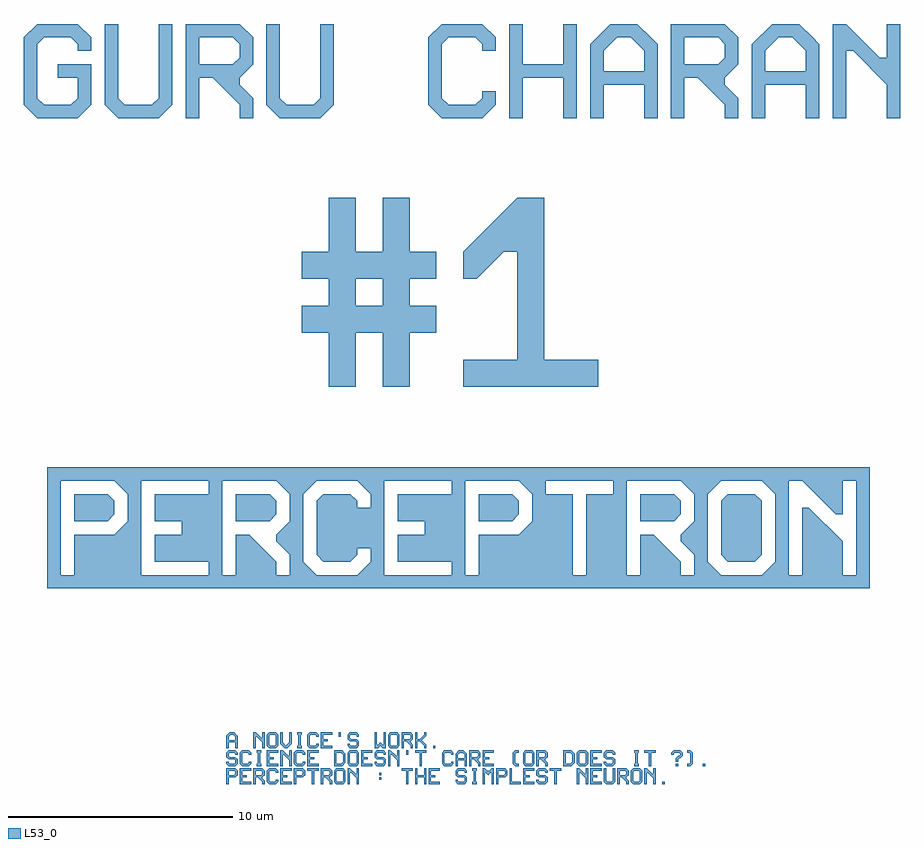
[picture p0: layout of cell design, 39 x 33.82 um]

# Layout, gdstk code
import gdstk
lib = gdstk.Library(unit=1e-6, precision=5e-09)
def R(c, l, rs):  # rectangles x0, y0, x1, y1
    for r in rs: c.add(gdstk.rectangle(r[:2], r[2:], *l))
def P(c, l, *ps):  # polygons
    for p in ps: c.add(gdstk.Polygon(p, *l))
L53_0 = (53, 0)

text = lib.new_cell('TEXT')
P(text, L53_0, [(1.2,0),(1.2,2.4),(0,2.4),(0,3.6),(1.2,3.6),(1.2,4.8),(0,4.8),(0,6),(1.2,6),(1.2,8.4),(2.4,8.4),(2.4,6),(3.6,6),(3.6,8.4),(4.8,8.4),(4.8,6),(6,6),(6,4.8),(4.8,4.8),(4.8,3.6),(6,3.6),(6,2.4),(4.8,2.4),(4.8,0),(3.6,0),(3.6,4.8),(2.4,4.8),(2.4,3.6),(3.6,3.6),(3.6,2.4),(2.4,2.4),(2.4,0)],
  [(7.2,0),(7.2,1.2),(9.6,1.2),(9.6,6),(9,6),(7.8,4.8),(7.2,4.8),(7.2,6),(9.6,8.4),(10.8,8.4),(10.8,1.2),(13.2,1.2),(13.2,0)])

text_3 = lib.new_cell('TEXT$3')
P(text_3, L53_0, [(0.6,2.4),(0.6,3.6),(2.1,3.6),(2.4,3.3),(2.4,2.7),(2.1,2.4)],
  [(7.8,2.4),(7.8,3.6),(9.3,3.6),(9.6,3.3),(9.6,2.7),(9.3,2.4)],
  [(18.6,2.4),(18.6,3.6),(20.1,3.6),(20.4,3.3),(20.4,2.7),(20.1,2.4)],
  [(25.8,2.4),(25.8,3.6),(27.3,3.6),(27.6,3.3),(27.6,2.7),(27.3,2.4)],
  [(29.7,0.6),(29.4,0.9),(29.4,3.3),(29.7,3.6),(30.9,3.6),(31.2,3.3),(31.2,0.9),(30.9,0.6)],
  [(-0.6,-0.6),(-0.6,4.2),(0,4.2),(0,0),(0.6,0),(0.6,1.8),(2.4,1.8),(3,2.4),(3,3.6),(2.4,4.2),(3.6,4.2),(3.6,0),(6.6,0),(6.6,0.6),(4.2,0.6),(4.2,1.8),(5.4,1.8),(5.4,2.4),(4.2,2.4),(4.2,3.6),(6.6,3.6),(6.6,4.2),(7.2,4.2),(7.2,0),(7.8,0),(7.8,1.8),(8.4,1.8),(9.6,0.6),(9.6,0),(10.2,0),(10.2,0.9),(9.6,1.5),(9.6,1.8),(10.2,2.4),(10.2,3.6),(9.6,4.2),(11.4,4.2),(10.8,3.6),(10.8,0.6),(11.4,0),(13.2,0),(13.8,0.6),(13.8,1.2),(13.2,1.2),(13.2,0.9),(12.9,0.6),(11.7,0.6),(11.4,0.9),(11.4,3.3),(11.7,3.6),(12.9,3.6),(13.2,3.3),(13.2,3),(13.8,3),(13.8,3.6),(13.2,4.2),(14.4,4.2),(14.4,0),(17.4,0),(17.4,0.6),(15,0.6),(15,1.8),(16.2,1.8),(16.2,2.4),(15,2.4),(15,3.6),(17.4,3.6),(17.4,4.2),(18,4.2),(18,0),(18.6,0),(18.6,1.8),(20.4,1.8),(21,2.4),(21,3.6),(20.4,4.2),(21.6,4.2),(21.6,3.6),(22.8,3.6),(22.8,0),(23.4,0),(23.4,3.6),(24.6,3.6),(24.6,4.2),(25.2,4.2),(25.2,0),(25.8,0),(25.8,1.8),(26.4,1.8),(27.6,0.6),(27.6,0),(28.2,0),(28.2,0.9),(27.6,1.5),(27.6,1.8),(28.2,2.4),(28.2,3.6),(27.6,4.2),(29.4,4.2),(28.8,3.6),(28.8,0.6),(29.4,0),(31.2,0),(31.8,0.6),(31.8,3.6),(31.2,4.2),(34.8,4.2),(34.8,2.7),(34.5,2.7),(33,4.2),(32.4,4.2),(32.4,0),(33,0),(33,3),(33.3,3),(34.8,1.5),(34.8,0),(35.4,0),(35.4,4.2),(-0.6,4.2),(-0.6,4.8),(36,4.8),(36,-0.6)])

text_2 = lib.new_cell('TEXT$2')
P(text_2, L53_0, [(0.6,0),(0,0.6),(0,3.6),(0.6,4.2),(2.4,4.2),(3,3.6),(3,3),(2.4,3),(2.4,3.3),(2.1,3.6),(0.9,3.6),(0.6,3.3),(0.6,0.9),(0.9,0.6),(2.1,0.6),(2.4,0.9),(2.4,1.8),(1.5,1.8),(1.5,2.4),(3,2.4),(3,0.6),(2.4,0)],
  [(4.2,0),(3.6,0.6),(3.6,4.2),(4.2,4.2),(4.2,0.9),(4.5,0.6),(5.7,0.6),(6,0.9),(6,4.2),(6.6,4.2),(6.6,0.6),(6,0)],
  [(7.2,0),(7.2,4.2),(9.6,4.2),(10.2,3.6),(7.8,3.6),(7.8,2.4),(9.3,2.4),(9.6,2.7),(9.6,3.3),(9.3,3.6),(10.2,3.6),(10.2,2.4),(9.6,1.8),(9.6,1.5),(10.2,0.9),(10.2,0),(9.6,0),(9.6,0.6),(8.4,1.8),(7.8,1.8),(7.8,0)],
  [(11.4,0),(10.8,0.6),(10.8,4.2),(11.4,4.2),(11.4,0.9),(11.7,0.6),(12.9,0.6),(13.2,0.9),(13.2,4.2),(13.8,4.2),(13.8,0.6),(13.2,0)],
  [(18.6,0),(18,0.6),(18,3.6),(18.6,4.2),(20.4,4.2),(21,3.6),(21,3),(20.4,3),(20.4,3.3),(20.1,3.6),(18.9,3.6),(18.6,3.3),(18.6,0.9),(18.9,0.6),(20.1,0.6),(20.4,0.9),(20.4,1.2),(21,1.2),(21,0.6),(20.4,0)],
  [(21.6,0),(21.6,4.2),(22.2,4.2),(22.2,2.4),(24,2.4),(24,4.2),(24.6,4.2),(24.6,0),(24,0),(24,1.8),(22.2,1.8),(22.2,0)],
  [(25.2,0),(25.2,3.3),(26.1,4.2),(27.3,4.2),(27.9,3.6),(26.4,3.6),(25.8,3),(25.8,2.1),(27.6,2.1),(27.6,3),(27,3.6),(27.9,3.6),(28.2,3.3),(28.2,0),(27.6,0),(27.6,1.5),(25.8,1.5),(25.8,0)],
  [(28.8,0),(28.8,4.2),(31.2,4.2),(31.8,3.6),(29.4,3.6),(29.4,2.4),(30.9,2.4),(31.2,2.7),(31.2,3.3),(30.9,3.6),(31.8,3.6),(31.8,2.4),(31.2,1.8),(31.2,1.5),(31.8,0.9),(31.8,0),(31.2,0),(31.2,0.6),(30,1.8),(29.4,1.8),(29.4,0)],
  [(32.4,0),(32.4,3.3),(33.3,4.2),(34.5,4.2),(35.1,3.6),(33.6,3.6),(33,3),(33,2.1),(34.8,2.1),(34.8,3),(34.2,3.6),(35.1,3.6),(35.4,3.3),(35.4,0),(34.8,0),(34.8,1.5),(33,1.5),(33,0)],
  [(36,0),(36,4.2),(36.6,4.2),(38.1,2.7),(38.4,2.7),(38.4,4.2),(39,4.2),(39,0),(38.4,0),(38.4,1.5),(36.9,3),(36.6,3),(36.6,0)])

text_5 = lib.new_cell('TEXT$5')
R(text_5, L53_0, [(19.4,-1.6,19.5,-1.5), (6.8,-1.4,6.9,-1.3), (6.8,-1.2,6.9,-1.1), (20,-0.8,20.1,-0.7), (21.2,-0.8,21.3,-0.7), (8,-0.3,8.1,-0.1), (9.2,0,9.3,0.1), (5,0.5,5.1,0.7)])
P(text_5, L53_0, [(0,0),(0,0.55),(0.15,0.7),(0.35,0.7),(0.45,0.6),(0.2,0.6),(0.1,0.5),(0.1,0.35),(0.4,0.35),(0.4,0.5),(0.3,0.6),(0.45,0.6),(0.5,0.55),(0.5,0),(0.4,0),(0.4,0.25),(0.1,0.25),(0.1,0)],
  [(1.2,0),(1.2,0.7),(1.3,0.7),(1.55,0.45),(1.6,0.45),(1.6,0.7),(1.7,0.7),(1.7,0),(1.6,0),(1.6,0.25),(1.35,0.5),(1.3,0.5),(1.3,0)],
  [(1.9,0),(1.8,0.1),(1.8,0.6),(1.9,0.7),(2.2,0.7),(2.3,0.6),(2.3,0.35),(2.2,0.35),(2.2,0.55),(2.15,0.6),(1.95,0.6),(1.9,0.55),(1.9,0.15),(1.95,0.1),(2.15,0.1),(2.2,0.15),(2.2,0.35),(2.3,0.35),(2.3,0.1),(2.2,0)],
  [(2.6,0),(2.4,0.2),(2.4,0.7),(2.5,0.7),(2.5,0.25),(2.65,0.1),(2.8,0.25),(2.8,0.7),(2.9,0.7),(2.9,0.2),(2.7,0)],
  [(3.15,0),(3.15,0.1),(3.2,0.1),(3.2,0.6),(3.15,0.6),(3.15,0.7),(3.35,0.7),(3.35,0.6),(3.3,0.6),(3.3,0.1),(3.35,0.1),(3.35,0)],
  [(3.7,0),(3.6,0.1),(3.6,0.6),(3.7,0.7),(4,0.7),(4.1,0.6),(4.1,0.5),(4,0.5),(4,0.55),(3.95,0.6),(3.75,0.6),(3.7,0.55),(3.7,0.15),(3.75,0.1),(3.95,0.1),(4,0.15),(4,0.2),(4.1,0.2),(4.1,0.1),(4,0)],
  [(4.2,0),(4.2,0.7),(4.7,0.7),(4.7,0.6),(4.3,0.6),(4.3,0.4),(4.5,0.4),(4.5,0.3),(4.3,0.3),(4.3,0.1),(4.7,0.1),(4.7,0)],
  [(5.5,0),(5.4,0.1),(5.4,0.2),(5.5,0.2),(5.5,0.15),(5.55,0.1),(5.75,0.1),(5.8,0.15),(5.8,0.25),(5.75,0.3),(5.5,0.3),(5.4,0.4),(5.4,0.6),(5.5,0.7),(5.8,0.7),(5.9,0.6),(5.9,0.5),(5.8,0.5),(5.8,0.55),(5.75,0.6),(5.55,0.6),(5.5,0.55),(5.5,0.45),(5.55,0.4),(5.8,0.4),(5.9,0.3),(5.9,0.1),(5.8,0)],
  [(6.6,0),(6.6,0.7),(6.7,0.7),(6.7,0.15),(6.75,0.15),(6.85,0.25),(6.95,0.15),(7,0.15),(7,0.7),(7.1,0.7),(7.1,0),(6.95,0),(6.85,0.1),(6.75,0)],
  [(7.3,0),(7.2,0.1),(7.2,0.6),(7.3,0.7),(7.6,0.7),(7.7,0.6),(7.7,0.35),(7.6,0.35),(7.6,0.55),(7.55,0.6),(7.35,0.6),(7.3,0.55),(7.3,0.15),(7.35,0.1),(7.55,0.1),(7.6,0.15),(7.6,0.35),(7.7,0.35),(7.7,0.1),(7.6,0)],
  [(7.8,0),(7.8,0.7),(8.2,0.7),(8.3,0.6),(7.9,0.6),(7.9,0.4),(8.15,0.4),(8.2,0.45),(8.2,0.55),(8.15,0.6),(8.3,0.6),(8.3,0.4),(8.2,0.3),(8.2,0.25),(8.3,0.15),(8.3,0),(8.2,0),(8.2,0.1),(8,0.3),(7.9,0.3),(7.9,0)],
  [(8.4,0),(8.4,0.7),(8.5,0.7),(8.5,0.4),(8.6,0.4),(8.8,0.6),(8.8,0.7),(8.9,0.7),(8.9,0.55),(8.7,0.35),(8.9,0.15),(8.9,0),(8.8,0),(8.8,0.1),(8.6,0.3),(8.5,0.3),(8.5,0)],
  [(0.1,-0.8),(0,-0.7),(0,-0.6),(0.1,-0.6),(0.1,-0.65),(0.15,-0.7),(0.35,-0.7),(0.4,-0.65),(0.4,-0.55),(0.35,-0.5),(0.1,-0.5),(0,-0.4),(0,-0.2),(0.1,-0.1),(0.4,-0.1),(0.5,-0.2),(0.5,-0.3),(0.4,-0.3),(0.4,-0.25),(0.35,-0.2),(0.15,-0.2),(0.1,-0.25),(0.1,-0.35),(0.15,-0.4),(0.4,-0.4),(0.5,-0.5),(0.5,-0.7),(0.4,-0.8)],
  [(0.7,-0.8),(0.6,-0.7),(0.6,-0.2),(0.7,-0.1),(1,-0.1),(1.1,-0.2),(1.1,-0.3),(1,-0.3),(1,-0.25),(0.95,-0.2),(0.75,-0.2),(0.7,-0.25),(0.7,-0.65),(0.75,-0.7),(0.95,-0.7),(1,-0.65),(1,-0.6),(1.1,-0.6),(1.1,-0.7),(1,-0.8)],
  [(1.35,-0.8),(1.35,-0.7),(1.4,-0.7),(1.4,-0.2),(1.35,-0.2),(1.35,-0.1),(1.55,-0.1),(1.55,-0.2),(1.5,-0.2),(1.5,-0.7),(1.55,-0.7),(1.55,-0.8)],
  [(1.8,-0.8),(1.8,-0.1),(2.3,-0.1),(2.3,-0.2),(1.9,-0.2),(1.9,-0.4),(2.1,-0.4),(2.1,-0.5),(1.9,-0.5),(1.9,-0.7),(2.3,-0.7),(2.3,-0.8)],
  [(2.4,-0.8),(2.4,-0.1),(2.5,-0.1),(2.75,-0.35),(2.8,-0.35),(2.8,-0.1),(2.9,-0.1),(2.9,-0.8),(2.8,-0.8),(2.8,-0.55),(2.55,-0.3),(2.5,-0.3),(2.5,-0.8)],
  [(3.1,-0.8),(3,-0.7),(3,-0.2),(3.1,-0.1),(3.4,-0.1),(3.5,-0.2),(3.5,-0.3),(3.4,-0.3),(3.4,-0.25),(3.35,-0.2),(3.15,-0.2),(3.1,-0.25),(3.1,-0.65),(3.15,-0.7),(3.35,-0.7),(3.4,-0.65),(3.4,-0.6),(3.5,-0.6),(3.5,-0.7),(3.4,-0.8)],
  [(3.6,-0.8),(3.6,-0.1),(4.1,-0.1),(4.1,-0.2),(3.7,-0.2),(3.7,-0.4),(3.9,-0.4),(3.9,-0.5),(3.7,-0.5),(3.7,-0.7),(4.1,-0.7),(4.1,-0.8)],
  [(4.8,-0.8),(4.8,-0.1),(5.15,-0.1),(5.25,-0.2),(4.9,-0.2),(4.9,-0.7),(5.1,-0.7),(5.2,-0.6),(5.2,-0.3),(5.1,-0.2),(5.25,-0.2),(5.3,-0.25),(5.3,-0.65),(5.15,-0.8)],
  [(5.5,-0.8),(5.4,-0.7),(5.4,-0.2),(5.5,-0.1),(5.8,-0.1),(5.9,-0.2),(5.9,-0.45),(5.8,-0.45),(5.8,-0.25),(5.75,-0.2),(5.55,-0.2),(5.5,-0.25),(5.5,-0.65),(5.55,-0.7),(5.75,-0.7),(5.8,-0.65),(5.8,-0.45),(5.9,-0.45),(5.9,-0.7),(5.8,-0.8)],
  [(6,-0.8),(6,-0.1),(6.5,-0.1),(6.5,-0.2),(6.1,-0.2),(6.1,-0.4),(6.3,-0.4),(6.3,-0.5),(6.1,-0.5),(6.1,-0.7),(6.5,-0.7),(6.5,-0.8)],
  [(6.7,-0.8),(6.6,-0.7),(6.6,-0.6),(6.7,-0.6),(6.7,-0.65),(6.75,-0.7),(6.95,-0.7),(7,-0.65),(7,-0.55),(6.95,-0.5),(6.7,-0.5),(6.6,-0.4),(6.6,-0.2),(6.7,-0.1),(7,-0.1),(7.1,-0.2),(7.1,-0.3),(7,-0.3),(7,-0.25),(6.95,-0.2),(6.75,-0.2),(6.7,-0.25),(6.7,-0.35),(6.75,-0.4),(7,-0.4),(7.1,-0.5),(7.1,-0.7),(7,-0.8)],
  [(7.2,-0.8),(7.2,-0.1),(7.3,-0.1),(7.55,-0.35),(7.6,-0.35),(7.6,-0.1),(7.7,-0.1),(7.7,-0.8),(7.6,-0.8),(7.6,-0.55),(7.35,-0.3),(7.3,-0.3),(7.3,-0.8)],
  [(8.6,-0.8),(8.6,-0.2),(8.4,-0.2),(8.4,-0.1),(8.9,-0.1),(8.9,-0.2),(8.7,-0.2),(8.7,-0.8)],
  [(9.7,-0.8),(9.6,-0.7),(9.6,-0.2),(9.7,-0.1),(10,-0.1),(10.1,-0.2),(10.1,-0.3),(10,-0.3),(10,-0.25),(9.95,-0.2),(9.75,-0.2),(9.7,-0.25),(9.7,-0.65),(9.75,-0.7),(9.95,-0.7),(10,-0.65),(10,-0.6),(10.1,-0.6),(10.1,-0.7),(10,-0.8)],
  [(10.2,-0.8),(10.2,-0.25),(10.35,-0.1),(10.55,-0.1),(10.65,-0.2),(10.4,-0.2),(10.3,-0.3),(10.3,-0.45),(10.6,-0.45),(10.6,-0.3),(10.5,-0.2),(10.65,-0.2),(10.7,-0.25),(10.7,-0.8),(10.6,-0.8),(10.6,-0.55),(10.3,-0.55),(10.3,-0.8)],
  [(10.8,-0.8),(10.8,-0.1),(11.2,-0.1),(11.3,-0.2),(10.9,-0.2),(10.9,-0.4),(11.15,-0.4),(11.2,-0.35),(11.2,-0.25),(11.15,-0.2),(11.3,-0.2),(11.3,-0.4),(11.2,-0.5),(11.2,-0.55),(11.3,-0.65),(11.3,-0.8),(11.2,-0.8),(11.2,-0.7),(11,-0.5),(10.9,-0.5),(10.9,-0.8)],
  [(11.4,-0.8),(11.4,-0.1),(11.9,-0.1),(11.9,-0.2),(11.5,-0.2),(11.5,-0.4),(11.7,-0.4),(11.7,-0.5),(11.5,-0.5),(11.5,-0.7),(11.9,-0.7),(11.9,-0.8)],
  [(12.85,-0.8),(12.75,-0.7),(12.75,-0.2),(12.85,-0.1),(13,-0.1),(13,-0.2),(12.9,-0.2),(12.85,-0.25),(12.85,-0.65),(12.9,-0.7),(13,-0.7),(13,-0.8)],
  [(13.3,-0.8),(13.2,-0.7),(13.2,-0.2),(13.3,-0.1),(13.6,-0.1),(13.7,-0.2),(13.7,-0.45),(13.6,-0.45),(13.6,-0.25),(13.55,-0.2),(13.35,-0.2),(13.3,-0.25),(13.3,-0.65),(13.35,-0.7),(13.55,-0.7),(13.6,-0.65),(13.6,-0.45),(13.7,-0.45),(13.7,-0.7),(13.6,-0.8)],
  [(13.8,-0.8),(13.8,-0.1),(14.2,-0.1),(14.3,-0.2),(13.9,-0.2),(13.9,-0.4),(14.15,-0.4),(14.2,-0.35),(14.2,-0.25),(14.15,-0.2),(14.3,-0.2),(14.3,-0.4),(14.2,-0.5),(14.2,-0.55),(14.3,-0.65),(14.3,-0.8),(14.2,-0.8),(14.2,-0.7),(14,-0.5),(13.9,-0.5),(13.9,-0.8)],
  [(15,-0.8),(15,-0.1),(15.35,-0.1),(15.45,-0.2),(15.1,-0.2),(15.1,-0.7),(15.3,-0.7),(15.4,-0.6),(15.4,-0.3),(15.3,-0.2),(15.45,-0.2),(15.5,-0.25),(15.5,-0.65),(15.35,-0.8)],
  [(15.7,-0.8),(15.6,-0.7),(15.6,-0.2),(15.7,-0.1),(16,-0.1),(16.1,-0.2),(16.1,-0.45),(16,-0.45),(16,-0.25),(15.95,-0.2),(15.75,-0.2),(15.7,-0.25),(15.7,-0.65),(15.75,-0.7),(15.95,-0.7),(16,-0.65),(16,-0.45),(16.1,-0.45),(16.1,-0.7),(16,-0.8)],
  [(16.2,-0.8),(16.2,-0.1),(16.7,-0.1),(16.7,-0.2),(16.3,-0.2),(16.3,-0.4),(16.5,-0.4),(16.5,-0.5),(16.3,-0.5),(16.3,-0.7),(16.7,-0.7),(16.7,-0.8)],
  [(16.9,-0.8),(16.8,-0.7),(16.8,-0.6),(16.9,-0.6),(16.9,-0.65),(16.95,-0.7),(17.15,-0.7),(17.2,-0.65),(17.2,-0.55),(17.15,-0.5),(16.9,-0.5),(16.8,-0.4),(16.8,-0.2),(16.9,-0.1),(17.2,-0.1),(17.3,-0.2),(17.3,-0.3),(17.2,-0.3),(17.2,-0.25),(17.15,-0.2),(16.95,-0.2),(16.9,-0.25),(16.9,-0.35),(16.95,-0.4),(17.2,-0.4),(17.3,-0.5),(17.3,-0.7),(17.2,-0.8)],
  [(18.15,-0.8),(18.15,-0.7),(18.2,-0.7),(18.2,-0.2),(18.15,-0.2),(18.15,-0.1),(18.35,-0.1),(18.35,-0.2),(18.3,-0.2),(18.3,-0.7),(18.35,-0.7),(18.35,-0.8)],
  [(18.8,-0.8),(18.8,-0.2),(18.6,-0.2),(18.6,-0.1),(19.1,-0.1),(19.1,-0.2),(18.9,-0.2),(18.9,-0.8)],
  [(20,-0.6),(20,-0.45),(20.1,-0.35),(20.15,-0.35),(20.2,-0.3),(20.2,-0.25),(20.15,-0.2),(19.95,-0.2),(19.9,-0.25),(19.9,-0.3),(19.8,-0.3),(19.8,-0.2),(19.9,-0.1),(20.2,-0.1),(20.3,-0.2),(20.3,-0.35),(20.2,-0.45),(20.15,-0.45),(20.1,-0.5),(20.1,-0.6)],
  [(20.5,-0.8),(20.5,-0.7),(20.6,-0.7),(20.65,-0.65),(20.65,-0.25),(20.6,-0.2),(20.5,-0.2),(20.5,-0.1),(20.65,-0.1),(20.75,-0.2),(20.75,-0.7),(20.65,-0.8)],
  [(0,-1.6),(0,-0.9),(0.4,-0.9),(0.5,-1),(0.5,-1.2),(0.4,-1.3),(0.1,-1.3),(0.1,-1.2),(0.35,-1.2),(0.4,-1.15),(0.4,-1.05),(0.35,-1),(0.1,-1),(0.1,-1.6)],
  [(0.6,-1.6),(0.6,-0.9),(1.1,-0.9),(1.1,-1),(0.7,-1),(0.7,-1.2),(0.9,-1.2),(0.9,-1.3),(0.7,-1.3),(0.7,-1.5),(1.1,-1.5),(1.1,-1.6)],
  [(1.2,-1.6),(1.2,-0.9),(1.6,-0.9),(1.7,-1),(1.3,-1),(1.3,-1.2),(1.55,-1.2),(1.6,-1.15),(1.6,-1.05),(1.55,-1),(1.7,-1),(1.7,-1.2),(1.6,-1.3),(1.6,-1.35),(1.7,-1.45),(1.7,-1.6),(1.6,-1.6),(1.6,-1.5),(1.4,-1.3),(1.3,-1.3),(1.3,-1.6)],
  [(1.9,-1.6),(1.8,-1.5),(1.8,-1),(1.9,-0.9),(2.2,-0.9),(2.3,-1),(2.3,-1.1),(2.2,-1.1),(2.2,-1.05),(2.15,-1),(1.95,-1),(1.9,-1.05),(1.9,-1.45),(1.95,-1.5),(2.15,-1.5),(2.2,-1.45),(2.2,-1.4),(2.3,-1.4),(2.3,-1.5),(2.2,-1.6)],
  [(2.4,-1.6),(2.4,-0.9),(2.9,-0.9),(2.9,-1),(2.5,-1),(2.5,-1.2),(2.7,-1.2),(2.7,-1.3),(2.5,-1.3),(2.5,-1.5),(2.9,-1.5),(2.9,-1.6)],
  [(3,-1.6),(3,-0.9),(3.4,-0.9),(3.5,-1),(3.5,-1.2),(3.4,-1.3),(3.1,-1.3),(3.1,-1.2),(3.35,-1.2),(3.4,-1.15),(3.4,-1.05),(3.35,-1),(3.1,-1),(3.1,-1.6)],
  [(3.8,-1.6),(3.8,-1),(3.6,-1),(3.6,-0.9),(4.1,-0.9),(4.1,-1),(3.9,-1),(3.9,-1.6)],
  [(4.2,-1.6),(4.2,-0.9),(4.6,-0.9),(4.7,-1),(4.3,-1),(4.3,-1.2),(4.55,-1.2),(4.6,-1.15),(4.6,-1.05),(4.55,-1),(4.7,-1),(4.7,-1.2),(4.6,-1.3),(4.6,-1.35),(4.7,-1.45),(4.7,-1.6),(4.6,-1.6),(4.6,-1.5),(4.4,-1.3),(4.3,-1.3),(4.3,-1.6)],
  [(4.9,-1.6),(4.8,-1.5),(4.8,-1),(4.9,-0.9),(5.2,-0.9),(5.3,-1),(5.3,-1.25),(5.2,-1.25),(5.2,-1.05),(5.15,-1),(4.95,-1),(4.9,-1.05),(4.9,-1.45),(4.95,-1.5),(5.15,-1.5),(5.2,-1.45),(5.2,-1.25),(5.3,-1.25),(5.3,-1.5),(5.2,-1.6)],
  [(5.4,-1.6),(5.4,-0.9),(5.5,-0.9),(5.75,-1.15),(5.8,-1.15),(5.8,-0.9),(5.9,-0.9),(5.9,-1.6),(5.8,-1.6),(5.8,-1.35),(5.55,-1.1),(5.5,-1.1),(5.5,-1.6)],
  [(8,-1.6),(8,-1),(7.8,-1),(7.8,-0.9),(8.3,-0.9),(8.3,-1),(8.1,-1),(8.1,-1.6)],
  [(8.4,-1.6),(8.4,-0.9),(8.5,-0.9),(8.5,-1.2),(8.8,-1.2),(8.8,-0.9),(8.9,-0.9),(8.9,-1.6),(8.8,-1.6),(8.8,-1.3),(8.5,-1.3),(8.5,-1.6)],
  [(9,-1.6),(9,-0.9),(9.5,-0.9),(9.5,-1),(9.1,-1),(9.1,-1.2),(9.3,-1.2),(9.3,-1.3),(9.1,-1.3),(9.1,-1.5),(9.5,-1.5),(9.5,-1.6)],
  [(10.3,-1.6),(10.2,-1.5),(10.2,-1.4),(10.3,-1.4),(10.3,-1.45),(10.35,-1.5),(10.55,-1.5),(10.6,-1.45),(10.6,-1.35),(10.55,-1.3),(10.3,-1.3),(10.2,-1.2),(10.2,-1),(10.3,-0.9),(10.6,-0.9),(10.7,-1),(10.7,-1.1),(10.6,-1.1),(10.6,-1.05),(10.55,-1),(10.35,-1),(10.3,-1.05),(10.3,-1.15),(10.35,-1.2),(10.6,-1.2),(10.7,-1.3),(10.7,-1.5),(10.6,-1.6)],
  [(10.95,-1.6),(10.95,-1.5),(11,-1.5),(11,-1),(10.95,-1),(10.95,-0.9),(11.15,-0.9),(11.15,-1),(11.1,-1),(11.1,-1.5),(11.15,-1.5),(11.15,-1.6)],
  [(11.4,-1.6),(11.4,-0.9),(11.5,-0.9),(11.6,-1),(11.7,-1),(11.8,-0.9),(11.9,-0.9),(11.9,-1.6),(11.8,-1.6),(11.8,-1.1),(11.75,-1.1),(11.65,-1.2),(11.55,-1.1),(11.5,-1.1),(11.5,-1.6)],
  [(12,-1.6),(12,-0.9),(12.4,-0.9),(12.5,-1),(12.5,-1.2),(12.4,-1.3),(12.1,-1.3),(12.1,-1.2),(12.35,-1.2),(12.4,-1.15),(12.4,-1.05),(12.35,-1),(12.1,-1),(12.1,-1.6)],
  [(12.6,-1.6),(12.6,-0.9),(12.7,-0.9),(12.7,-1.5),(13.1,-1.5),(13.1,-1.6)],
  [(13.2,-1.6),(13.2,-0.9),(13.7,-0.9),(13.7,-1),(13.3,-1),(13.3,-1.2),(13.5,-1.2),(13.5,-1.3),(13.3,-1.3),(13.3,-1.5),(13.7,-1.5),(13.7,-1.6)],
  [(13.9,-1.6),(13.8,-1.5),(13.8,-1.4),(13.9,-1.4),(13.9,-1.45),(13.95,-1.5),(14.15,-1.5),(14.2,-1.45),(14.2,-1.35),(14.15,-1.3),(13.9,-1.3),(13.8,-1.2),(13.8,-1),(13.9,-0.9),(14.2,-0.9),(14.3,-1),(14.3,-1.1),(14.2,-1.1),(14.2,-1.05),(14.15,-1),(13.95,-1),(13.9,-1.05),(13.9,-1.15),(13.95,-1.2),(14.2,-1.2),(14.3,-1.3),(14.3,-1.5),(14.2,-1.6)],
  [(14.6,-1.6),(14.6,-1),(14.4,-1),(14.4,-0.9),(14.9,-0.9),(14.9,-1),(14.7,-1),(14.7,-1.6)],
  [(15.6,-1.6),(15.6,-0.9),(15.7,-0.9),(15.95,-1.15),(16,-1.15),(16,-0.9),(16.1,-0.9),(16.1,-1.6),(16,-1.6),(16,-1.35),(15.75,-1.1),(15.7,-1.1),(15.7,-1.6)],
  [(16.2,-1.6),(16.2,-0.9),(16.7,-0.9),(16.7,-1),(16.3,-1),(16.3,-1.2),(16.5,-1.2),(16.5,-1.3),(16.3,-1.3),(16.3,-1.5),(16.7,-1.5),(16.7,-1.6)],
  [(16.9,-1.6),(16.8,-1.5),(16.8,-0.9),(16.9,-0.9),(16.9,-1.45),(16.95,-1.5),(17.15,-1.5),(17.2,-1.45),(17.2,-0.9),(17.3,-0.9),(17.3,-1.5),(17.2,-1.6)],
  [(17.4,-1.6),(17.4,-0.9),(17.8,-0.9),(17.9,-1),(17.5,-1),(17.5,-1.2),(17.75,-1.2),(17.8,-1.15),(17.8,-1.05),(17.75,-1),(17.9,-1),(17.9,-1.2),(17.8,-1.3),(17.8,-1.35),(17.9,-1.45),(17.9,-1.6),(17.8,-1.6),(17.8,-1.5),(17.6,-1.3),(17.5,-1.3),(17.5,-1.6)],
  [(18.1,-1.6),(18,-1.5),(18,-1),(18.1,-0.9),(18.4,-0.9),(18.5,-1),(18.5,-1.25),(18.4,-1.25),(18.4,-1.05),(18.35,-1),(18.15,-1),(18.1,-1.05),(18.1,-1.45),(18.15,-1.5),(18.35,-1.5),(18.4,-1.45),(18.4,-1.25),(18.5,-1.25),(18.5,-1.5),(18.4,-1.6)],
  [(18.6,-1.6),(18.6,-0.9),(18.7,-0.9),(18.95,-1.15),(19,-1.15),(19,-0.9),(19.1,-0.9),(19.1,-1.6),(19,-1.6),(19,-1.35),(18.75,-1.1),(18.7,-1.1),(18.7,-1.6)])

design = lib.new_cell('design')
design.add(gdstk.Reference(text, (29.535,32.34)))
design.add(gdstk.Reference(text_3, (18.805,23.955)))
design.add(gdstk.Reference(text_2, (17.17,44.275)))
design.add(gdstk.Reference(text_5, (26.185,16.255)))

lib.write_gds('design.gds')
